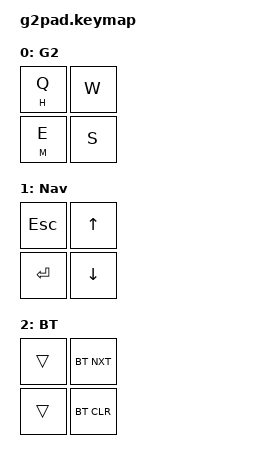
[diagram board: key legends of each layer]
/*
 * G2Pad keymap (ZMK)
 *
 *   +----------+----------+
 *   | BACK  Q  |  UP   W  |      tap  = letter key (works with any phone input handler)
 *   +----------+----------+      hold = long-press action
 *   | SELECT E |  DOWN  S |
 *   +----------+----------+
 *
 *  Long presses (hold > 400 ms):
 *    BACK   -> H  (home)
 *    SELECT -> M  (shortcut / menu)
 *  Combos:
 *    UP + DOWN        -> toggle NAV mode (arrow keys / Enter / Esc, for apps that want them)
 *    BACK + SELECT    -> hold for BT layer (UP = next paired device, DOWN = clear pairing)
 *
 *  The Even Hub app on the phone decides what each letter does on the G2.
 */
#include <behaviors.dtsi>
#include <dt-bindings/zmk/keys.h>
#include <dt-bindings/zmk/bt.h>

#define BASE 0
#define NAV  1
#define BT   2

/ {
    behaviors {
        lp: long_press {
            compatible = "zmk,behavior-hold-tap";
            #binding-cells = <2>;
            flavor = "tap-preferred";
            tapping-term-ms = <400>;
            bindings = <&kp>, <&kp>;
        };
    };

    combos {
        compatible = "zmk,combos";
        nav_toggle {
            timeout-ms = <80>;
            key-positions = <1 3>;
            bindings = <&tog NAV>;
        };
        bt_layer {
            timeout-ms = <80>;
            key-positions = <0 2>;
            bindings = <&mo BT>;
        };
    };

    keymap {
        compatible = "zmk,keymap";

        base_layer {
            display-name = "G2";
            bindings = <
                &lp H Q     &kp W
                &lp M E     &kp S
            >;
        };

        nav_layer {
            display-name = "Nav";
            bindings = <
                &kp ESC     &kp UP
                &kp RET     &kp DOWN
            >;
        };

        bt_layer {
            display-name = "BT";
            bindings = <
                &trans      &bt BT_NXT
                &trans      &bt BT_CLR
            >;
        };
    };
};
